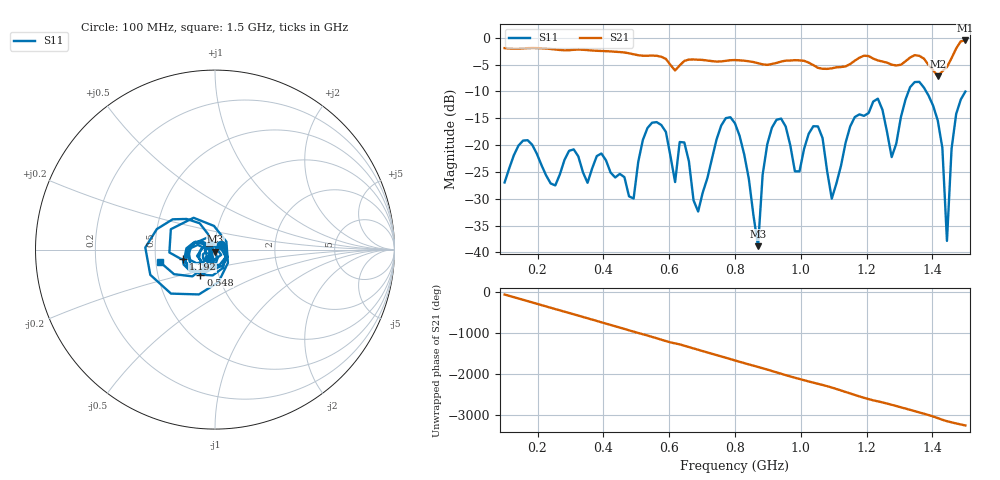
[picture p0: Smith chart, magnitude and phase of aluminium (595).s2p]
! NanoVNA-App
! Date: 2025-09-25 14:59:54
! Start: 100MHz Stop: 1,5GHz Points: 101
! S-Parameter data: F S11 S21 S12 S22
# Hz S RI R 50
!  Frequency  S11_Real  S11_Imag  S21_Real  S21_Imag  S12_Real  S12_Imag  S22_Real  S22_Imag
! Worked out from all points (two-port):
!   101 points, 100 MHz to 1.5 GHz, reference 50 ohm
!   highest |S21| = -0.49 dB at 1.5 GHz (marker M1); lowest = -7.2 dB at 1.416 GHz (marker M2)
!   |S21| within 3 dB of the highest: start of sweep to 573.3 MHz; 1.46 GHz to end of sweep (the widest 2 of 4)
!   lowest |S11| = -38.8 dB at 870 MHz (marker M3), VSWR 1.02, Z = 50.1 - j1.14 ohm
!   |S11| at or under -10 dB: start of sweep to 1.327 GHz; 1.381 GHz to end of sweep
!   S12 and S22 are empty: the file has one direction only
!   S11 on the Smith chart (normalised r, x): 100 MHz: 1.07, +0.06; 548 MHz: 0.82, -0.24; 1.192 GHz: 0.69, -0.08; 1.5 GHz: 0.52, -0.08
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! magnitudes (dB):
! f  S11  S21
! 100 MHz  -27.0  -1.9
! 156 MHz  -19.2  -2.0
! 338 MHz  -25.1  -2.2
! 492 MHz  -30.0  -3.1
! 548 MHz  -15.8  -3.3
! 576 MHz  -16.2  -3.5
! 646 MHz  -19.5  -4.3
! 688 MHz  -32.4  -4.1
! 800 MHz  -15.9  -4.1
! 870 MHz  -38.8  -4.7
! 912 MHz  -16.8  -4.9
! 996 MHz  -24.9  -4.2
! 1.038 GHz  -16.5  -5.1
! 1.094 GHz  -30.0  -5.7
! 1.192 GHz  -14.5  -3.3
! 1.234 GHz  -11.3  -4.2
! 1.276 GHz  -22.2  -5.0
! 1.346 GHz  -8.2  -3.2
! 1.416 GHz  -15.4  -7.2
! 1.444 GHz  -37.8  -5.5
! 1.458 GHz  -20.7  -3.8
! 1.5 GHz  -10.0  -0.5
